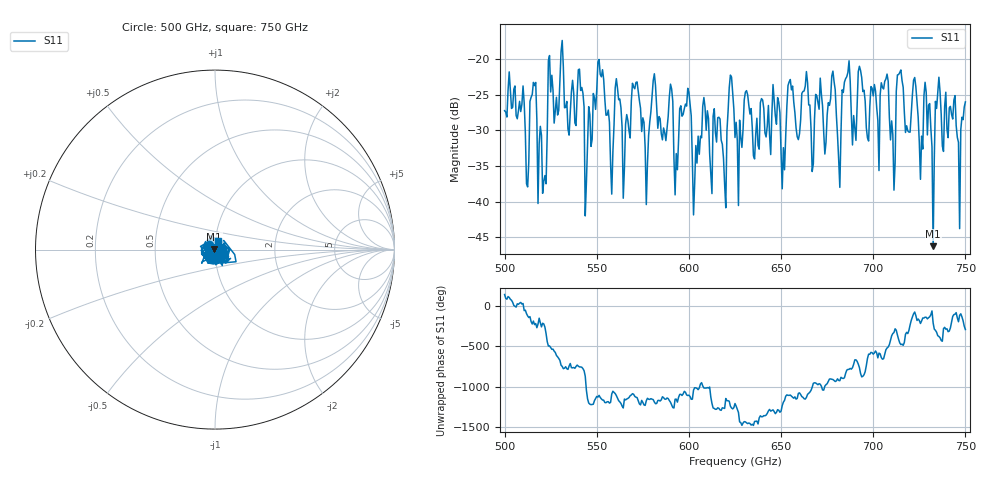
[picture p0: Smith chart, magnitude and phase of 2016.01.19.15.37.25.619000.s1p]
!Created with skrf (http://scikit-rf.org).
# GHz S RI R 50.0
!freq ReS11 ImS11
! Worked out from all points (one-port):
!   401 points, 500 GHz to 750 GHz, reference 50 ohm
!   lowest |S11| = -46.2 dB at 732.5 GHz (marker M1), VSWR 1.01, Z = 49.6 + j0.232 ohm
!   |S11| at or under -10 dB: start of sweep to end of sweep
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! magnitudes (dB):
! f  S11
! 500 GHz  -27.2
! 512.5 GHz  -37.9
! 515.6 GHz  -23.3
! 521.9 GHz  -36.3
! 525 GHz  -24.6
! 531.2 GHz  -17.4
! 545 GHz  -31.9
! 551.9 GHz  -22.1
! 558.1 GHz  -38.9
! 562.5 GHz  -25.6
! 577.5 GHz  -34.7
! 580.6 GHz  -23.0
! 590 GHz  -23.5
! 593.8 GHz  -35.5
! 625 GHz  -31.0
! 651.2 GHz  -32.4
! 656.2 GHz  -23.8
! 678.1 GHz  -21.7
! 681.2 GHz  -34.1
! 687.5 GHz  -23.1
! 706.9 GHz  -22.8
! 710.6 GHz  -30.6
! 714.4 GHz  -21.9
! 718.8 GHz  -30.1
! 732.5 GHz  -46.2
! 735 GHz  -24.7
! 746.2 GHz  -31.7
! 750 GHz  -26.0
